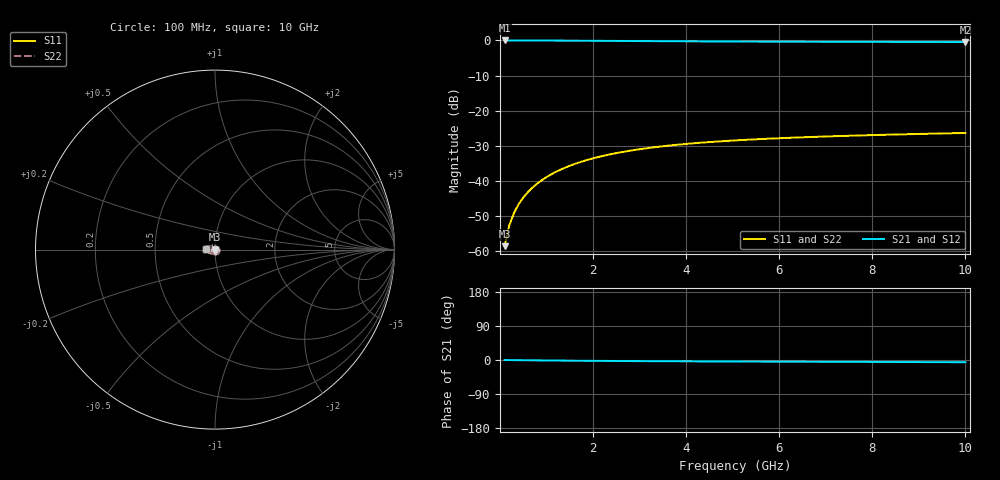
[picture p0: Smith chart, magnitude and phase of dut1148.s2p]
! Touchstone file exported from HFSS 2024.1.0
!  File:  C:/UserFiles/LocalFiles/RDL_TSV_Batchsim/temp_TSV1_1148_1780071666.aedt
!  Generated:  12:26:06 AM May 30, 2026
!  Design:  TSV1
!  Project:  temp_TSV1_1148_1780071666
!  Setup:  Setup1
!  Solution:  Sweep
! Variables:
!  dtsv = 8.24um
!  hbump = 3um
!  htsv = 93.12um
!  lrdl = 252.1521522um
!  p = 40
!  p1 = 43.94um
!  t = 500um
!  trdl = 3um
!  wrdl = 24.89489489um
# GHz S MA R 50.000000
! Terminal data exported
! Port[1] = TSV22_T1
! Port[2] = TSV22_T2
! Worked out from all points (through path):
!   100 points, 100 MHz to 10 GHz, reference 50 ohm
!   highest |S21| = 0.00 dB at 100 MHz (marker M1); lowest = -0.5 dB at 10 GHz (marker M2)
!   lowest |S11| = -58.6 dB at 100 MHz (marker M3), VSWR 1.00, Z = 50 - j0.116 ohm
!   |S11| at or under -10 dB: start of sweep to end of sweep
!   |S22| runs from -58.6 to -26.3 dB; largest |S21 - S12| = 3.1e-15
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0.1  0.001177 -80.1  0.9997 -0.1  0.9997 -0.1  0.001177 -80.1
! Gamma 0 0 0 0
! Port Impedance 50 0 50 0
0.2  0.002326 -87.2  0.9996 -0.3  0.9996 -0.3  0.002326 -87.2
0.3  0.003484 -90.8  0.9994 -0.4  0.9994 -0.4  0.003484 -90.8
0.4  0.004638 -93.5  0.9992 -0.5  0.9992 -0.5  0.004638 -93.5
0.5  0.005784 -95.8  0.9989 -0.6  0.9989 -0.6  0.005784 -95.8
0.6  0.006921 -97.8  0.9985 -0.8  0.9985 -0.8  0.006921 -97.8
0.7  0.008045 -99.8  0.9981 -0.9  0.9981 -0.9  0.008045 -99.8
0.8  0.009155 -101.6  0.9976 -1.0  0.9976 -1.0  0.009155 -101.6
0.9  0.01025 -103.4  0.997 -1.1  0.997 -1.1  0.01025 -103.4
1.1  0.01239 -106.8  0.9958 -1.3  0.9958 -1.3  0.01239 -106.8
1.4  0.01544 -111.7  0.9937 -1.7  0.9937 -1.7  0.01544 -111.7
1.6  0.01737 -114.8  0.9921 -1.9  0.9921 -1.9  0.01737 -114.8
1.8  0.01921 -117.8  0.9905 -2.0  0.9905 -2.0  0.01921 -117.8
2.1  0.02178 -122.1  0.9879 -2.3  0.9879 -2.3  0.02178 -122.1
2.5  0.02489 -127.4  0.9843 -2.6  0.9843 -2.6  0.02489 -127.4
2.9  0.02763 -132.3  0.9808 -2.9  0.9808 -2.9  0.02763 -132.3
3.4  0.03061 -138.0  0.9767 -3.2  0.9767 -3.2  0.03061 -138.0
4.2  0.03449 -145.9  0.9708 -3.6  0.9708 -3.6  0.03449 -145.9
5.1  0.03787 -153.6  0.9653 -4.0  0.9653 -4.0  0.03787 -153.6
6.7  0.04224 -164.8  0.958 -4.6  0.958 -4.6  0.04224 -164.8
8.4  0.0456 -174.4  0.9528 -5.3  0.9528 -5.3  0.0456 -174.4
10  0.04815 178.0  0.9493 -5.8  0.9493 -5.8  0.04815 178.0
